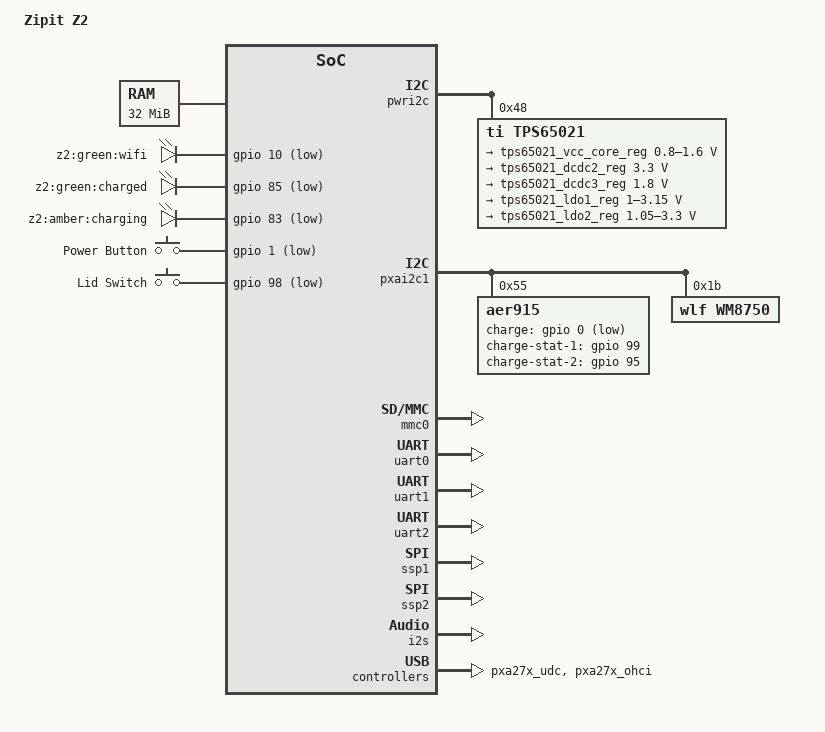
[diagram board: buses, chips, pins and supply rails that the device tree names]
/*
 *  Copyright (C) 2016 Vasily Khoruzhick <anarsoul@gmail.com>
 *
 *  This program is free software; you can redistribute it and/or modify
 *  it under the terms of the GNU General Public License version 2 as
 *  publishhed by the Free Software Foundation.
 */

/dts-v1/;
#include <dt-bindings/gpio/gpio.h>
#include <dt-bindings/input/input.h>
#include "pxa27x.dtsi"

/ {
	model = "Zipit Z2";
	compatible = "zipitz2";

	chosen {
		bootargs = "console=ttyS2";
	};

	memory {
		reg = <0xa0000000 0x2000000>;
	};

	pxabus {
		nor_flash@00000000 {
			compatible = "cfi-flash";
			reg = <0x00000000 0x800000>;
			linux,mtd-name = "physmap-flash.0";
			bank-width = <2>;
			#address-cells = <1>;
			#size-cells = <1>;

			uboot@0 {
				label = "U-Boot Bootloader";
				reg = <0x00000 0x40000>;
			};

			ubootenv@40000 {
				label = "U-Boot Environment";
				reg = <0x40000 0x20000>;
			};

			flash@60000 {
				label = "Flash";
				reg = <0x60000 0x780000>;
			};

			logo@7e0000  {
				label = "U-Boot Logo";
				reg = <0x7e0000 0x20000>;
			};
		};

		pwri2c: i2c@40f000180 {
			status = "okay";
			tps65021@48 {
				compatible = "ti,tps65021";
				reg = <0x48>;
				regulators {
					tps65021_vcc_core_reg: vcc_core {
						regulator-name = "vcc_core";
						regulator-always-on;
						regulator-boot-on;
						regulator-min-microvolt = <800000>;
						regulator-max-microvolt = <1600000>;
					};
					tps65021_dcdc2_reg: dcdc1 {
						regulator-name = "DCDC2";
						regulator-always-on;
						regulator-boot-on;
						regulator-min-microvolt = <3300000>;
						regulator-max-microvolt = <3300000>;
					};
					tps65021_dcdc3_reg: dcdc2 {
						regulator-name = "DCDC3";
						regulator-always-on;
						regulator-boot-on;
						regulator-min-microvolt = <1800000>;
						regulator-max-microvolt = <1800000>;
					};
					tps65021_ldo1_reg: ldo1 {
						regulator-name = "LDO1";
						regulator-always-on;
						regulator-boot-on;
						regulator-min-microvolt = <1000000>;
						regulator-max-microvolt = <3150000>;
					};
					tps65021_ldo2_reg: ldo2 {
						regulator-name = "LDO2";
						regulator-always-on;
						regulator-boot-on;
						regulator-min-microvolt = <1050000>;
						regulator-max-microvolt = <3300000>;
					};
				};
			};
		};
		pxai2c1: i2c@40301680 {
			status = "okay";
			aer915@55 {
				compatible = "aer915";
				reg = <0x55>;
				charge-gpio = <&gpio 0 GPIO_ACTIVE_LOW>;
				charge-stat-1 = <&gpio 99 GPIO_OPEN_DRAIN>;
				charge-stat-2 = <&gpio 95 GPIO_OPEN_DRAIN>;
				i2c_reg = <2>;
				min_voltage = <3475000>;
				max_voltage = <4190000>;
				batt_div = <59>;
				batt_mult = <1000000>;
				batt_name = "Z2";
			};
			wm8750: wm8750@1b {
				#sound-dai-cells = <0>;
				compatible = "wlf,wm8750";
				reg = <0x1b>;
			};
		};
		mmc0: mmc@41100000 {
			pxa-mmc,detect-delay-ms = <200>;
			//cd-gpios = <&gpio 96 GPIO_ACTIVE_HIGH>;
			status = "okay";
		};
		uart0: uart@40100000 {
			status = "okay";
		};
		uart1: uart@40200000 {
			status = "okay";
		};
		uart2: uart@40700000 {
			status = "okay";
		};

		display-backlight {
			compatible = "pwm-backlight";
			pwms = <&pwm1 1260320>;
			brightness-levels = <0 200 300 400 500 600 700 800 900 1023>;
			default-brightness-level = <4>;
		};

		keyboard-backlight {
			compatible = "pwm-backlight";
			pwms = <&pwm2 1260320>;
			brightness-levels = <0 200 300 400 500 600 700 800 900 1023>;
			default-brightness-level = <0>;
		};
		gpio-leds {
			compatible = "gpio-leds";

			green-wifi {
				label = "z2:green:wifi";
				gpios = <&gpio 10 GPIO_ACTIVE_LOW>;
			};
			green-charged {
				label = "z2:green:charged";
				linux,default_trigger = "mmc0";
				gpios = <&gpio 85 GPIO_ACTIVE_LOW>;
			};
			amber-charging {
				label = "z2:amber:charging";
				linux,default_trigger = "Z2-charging-or-full";
				gpios = <&gpio 83 GPIO_ACTIVE_LOW>;
			};
		};
		gpio-keys {
			compatible = "gpio-keys";
			power-button {
				label = "Power Button";
				linux,code = <KEY_POWER>;
				gpios = <&gpio 1 GPIO_ACTIVE_LOW>;
				gpio-key,wakeup;
			};
			lid {
				label = "Lid Switch";
				linux,code = <SW_LID>;
				gpios = <&gpio 98 GPIO_ACTIVE_LOW>;
			};
		};
		keypad@41500000 {
			status = "okay";
			keypad,num-rows = <7>;
			keypad,num-columns = <8>;
			marvell,debounce-interval = <30>;
			linux,keymap = <0x00000165   /* KEY_OPTION */
					0x01000067   /* KEY_UP */
					0x0200006c   /* KEY_DOWN */
					0x03000069   /* KEY_LEFT */
					0x0400006a   /* KEY_RIGHT */
					0x0500006b   /* KEY_END */
					0x0600004e   /* KEY_KPPLUS */
					0x00010066   /* KEY_HOME */
					0x01010010   /* KEY_Q */
					0x02010017   /* KEY_I */
					0x03010022   /* KEY_G */
					0x0401002d   /* KEY_X */
					0x0501001c   /* KEY_ENTER */
					0x0601004a   /* KEY_KPMINUS */
					0x00020068   /* KEY_PAGEUP */
					0x01020011   /* KEY_W */
					0x02020018   /* KEY_O */
					0x03020023   /* KEY_H */
					0x0402002e   /* KEY_C */
					0x05020038   /* KEY_LEFTALT */
					0x0003006d   /* KEY_PAGEDOWN */
					0x01030012   /* KEY_E */
					0x02030019   /* KEY_P */
					0x03030024   /* KEY_J */
					0x0403002f   /* KEY_V */
					0x0503002a   /* KEY_LEFTSHIFT */
					0x00040001   /* KEY_ESC */
					0x01040013   /* KEY_R */
					0x0204001e   /* KEY_A */
					0x03040025   /* KEY_K */
					0x04040030   /* KEY_B */
					0x0504001d   /* KEY_LEFTCTRL */
					0x0005000f   /* KEY_TAB */
					0x01050014   /* KEY_T */
					0x0205001f   /* KEY_S */
					0x03050026   /* KEY_L */
					0x04050031   /* KEY_N */
					0x05050039   /* KEY_SPACE */
					0x000600a6   /* KEY_STOPCD */
					0x01060015   /* KEY_Y */
					0x02060020   /* KEY_D */
					0x0306000e   /* KEY_BACKSPACE */
					0x04060032   /* KEY_M */
					0x05060033   /* KEY_COMMA */
					0x000700c8   /* KEY_PLAYCD */
					0x01070016   /* KEY_U */
					0x02070021   /* KEY_F */
					0x0307002c   /* KEY_Z */
					0x04070027   /* KEY_SEMICOLON */
					0x05070034>; /* KEY_DOT */
		};
		ssp1: ssp@41000000 {
			status = "okay";
		};
		ssp2: ssp@41700000 {
			status = "okay";
		};
		i2s: pxa2xx-i2s@40400000 {
			#sound-dai-cells = <0>;
			status = "okay";
		};
		sound_plat: pxa-pcm-audio {
			#sound-dai-cells = <0>;
			compatible = "mrvl,pxa-pcm-audio";
			status = "okay";
		};
		audio {
			compatible = "simple-audio-card";
			simple-audio-card,name = "Z2";
			simple-audio-card,format = "i2s";
			simple-audio-card,bitclock-master = <&frame_master>;
			simple-audio-card,frame-master = <&frame_master>;
			simple-audio-card,widgets =
				"Headphone", "Headphones",
				"Microphone", "Microphone",
				"Speaker", "Speaker";
			simple-audio-card,routing =
			/* headphone connected to LOUT1, ROUT1 */
			"Headphones", "LOUT1",
			"Headphones", "ROUT1",

			/* ext speaker connected to LOUT2, ROUT2  */
			"Speaker", "ROUT2",
			"Speaker", "LOUT2",

			/* mic is connected to R input 2 - with bias */
			"RINPUT2", "Mic Bias",
			"Mic Bias", "Microphone";

			simple-audio-card,hp-det-gpio = <&gpio 37 GPIO_ACTIVE_LOW>;

			frame_master: simple-audio-card,cpu {
				sound-dai = <&i2s>;
			};
			simple-audio-card,codec {
				sound-dai = <&wm8750>;
				system-clock-frequency = <11289600>;
			};
			simple-audio-card,plat {
				sound-dai = <&sound_plat>;
			};
		};
		pxa27x_udc: udc@40600000 {
			status = "okay";
		};
		pxa27x_ohci: usb@4c000000 {
			status = "okay";
			marvell,enable-port2;
			marvell,no-oc-protection;
			marvell,power-on-delay = <10>;
			marvell,power-budget = <500>;
			marvell,port-mode = <3>;
		};
	};
};
